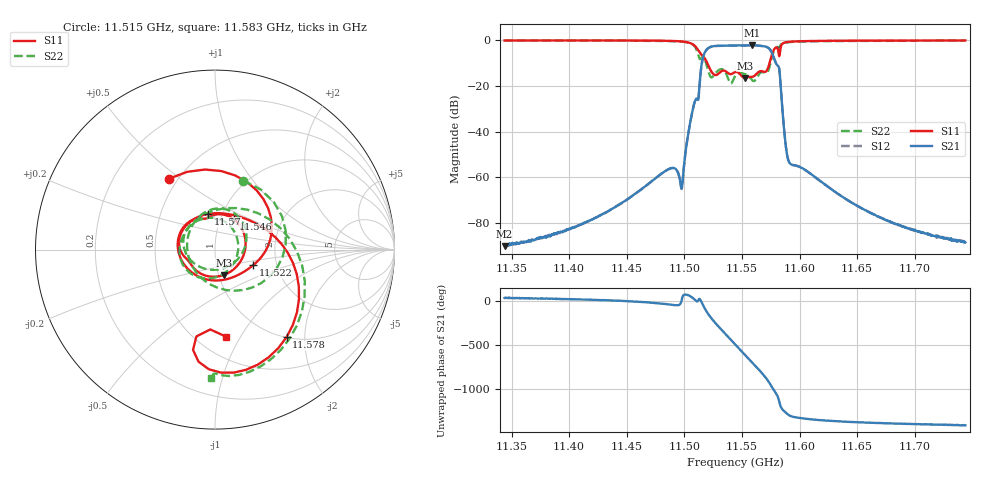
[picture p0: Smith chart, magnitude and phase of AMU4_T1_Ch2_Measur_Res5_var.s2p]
#  HZ  S  RI  R  50.00
! Rohde & Schwarz ZVA50 2Ports - Version 3.70 - 1145.1110k50 SN: 100192
! Date: 2025-08-07 12:44:06
! Measurements: S11 S21 S12 S22
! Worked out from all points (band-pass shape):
!   1001 points, 11.344 GHz to 11.744 GHz, reference 50 ohm
!   highest |S21| = -2.23 dB at 11.559 GHz (marker M1); lowest = -90.1 dB at 11.344 GHz (marker M2)
!   |S21| within 3 dB of the highest: 11.51796 GHz to 11.57577 GHz (57.81 MHz wide, 0.501 % of centre)
!   lowest |S11| = -16.5 dB at 11.553 GHz (marker M3), VSWR 1.35, Z = 52.9 - j15.3 ohm
!   |S11| at or under -10 dB: 11.51989 GHz to 11.574 GHz (54.12 MHz wide, 0.469 % of centre)
!   |S22| runs from -19.0 to -0.3 dB; largest |S21 - S12| = 0.0022
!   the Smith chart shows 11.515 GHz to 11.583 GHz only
!   S11 on the Smith chart (normalised r, x): 11.515 GHz: 0.45, +0.46; 11.522 GHz: 1.51, -0.27; 11.546 GHz: 1.16, +0.41; 11.57 GHz: 0.86, +0.35; 11.578 GHz: 1.01, -1.63; 11.583 GHz: 0.68, -0.87
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1.1344e10  -0.6697 0.7188  2.43e-05 1.94e-05  2.5e-05 1.92e-05  -0.6335 0.7328
1.14108e10  -0.3856 0.9054  8.97e-05 3.39e-05  8.85e-05 3.21e-05  -0.3671 0.8972
1.14776e10  0.3595 0.9056  0.000995 -0.000408  0.000989 -0.000409  0.3049 0.9125
1.14976e10  0.8574 0.3737  0.000562 8.43e-05  0.00055 6.87e-05  0.7908 0.4867
1.15096e10  0.2008 -0.7006  0.0479 0.0101  0.0478 0.01  0.3279 -0.6127
1.15152e10  -0.2551 0.3955  0.3024 -0.0864  0.3017 -0.0865  0.1575 0.3848
1.15188e10  0.311 0.1805  -0.1607 -0.5718  -0.1608 -0.5703  0.2581 -0.1862
1.15224e10  0.2138 -0.0859  -0.7035 -0.0567  -0.7019 -0.0558  -0.1079 -0.1219
1.15284e10  -0.085 -0.1533  -0.00251 0.7493  -0.00182 0.7474  -0.0842 0.1872
1.15348e10  -0.1663 0.1356  0.7557 0.00503  0.7539 0.00451  0.1581 0.143
1.1544e10  0.0276 0.197  -0.4915 -0.5793  -0.4908 -0.5776  -0.1606 -0.0237
1.1546e10  0.1041 0.1698  -0.707 -0.2752  -0.7055 -0.274  -0.1751 0.0642
1.15528e10  0.0489 -0.1416  -0.2014 0.7411  -0.1999 0.7395  -0.0389 0.1766
1.15588e10  -0.1371 -0.0773  0.7173 0.2903  0.7159 0.2888  0.1279 0.0416
1.15652e10  -0.1997 0.0519  0.2846 -0.7001  0.2831 -0.6988  -0.11 -0.1474
1.15696e10  -0.0397 0.1985  -0.5139 -0.5196  -0.5132 -0.5178  -0.1885 0.0497
1.1578e10  0.3985 -0.4878  0.1991 0.3415  0.1988 0.3408  0.4839 -0.3453
1.15828e10  0.0632 -0.486  0.015 -0.1918  0.015 -0.1914  -0.0197 -0.7167
1.15908e10  -0.6424 -0.654  -0.00166 0.00143  -0.00165 0.00142  -0.6978 -0.5775
1.16108e10  -0.9577 -0.0115  -1.65e-05 0.00114  -1.38e-05 0.00113  -0.9419 0.066
1.16776e10  -0.7143 0.6691  7.52e-05 7.85e-05  7.54e-05 7.99e-05  -0.6679 0.6969
1.1744e10  -0.4581 0.8703  3.46e-05 1.46e-05  3.49e-05 1.61e-05  -0.4188 0.8743
